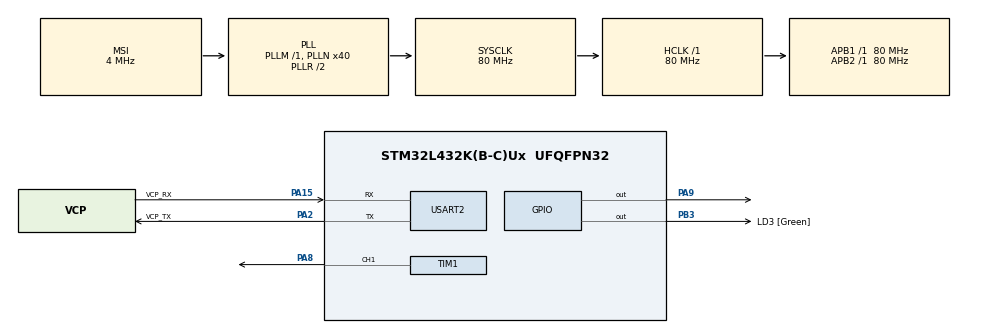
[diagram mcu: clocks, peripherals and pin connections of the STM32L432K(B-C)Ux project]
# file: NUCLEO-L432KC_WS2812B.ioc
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Dma.Request0=TIM1_CH1
Dma.TIM1_CH1.0.Direction=DMA_MEMORY_TO_PERIPH
Dma.TIM1_CH1.0.Instance=DMA1_Channel2
Dma.TIM1_CH1.0.MemDataAlignment=DMA_MDATAALIGN_BYTE
Dma.TIM1_CH1.0.MemInc=DMA_MINC_ENABLE
Dma.TIM1_CH1.0.Mode=DMA_CIRCULAR
Dma.TIM1_CH1.0.PeriphDataAlignment=DMA_PDATAALIGN_WORD
Dma.TIM1_CH1.0.PeriphInc=DMA_PINC_DISABLE
Dma.TIM1_CH1.0.Priority=DMA_PRIORITY_LOW
Mcu.Family=STM32L4
Mcu.Name=STM32L432K(B-C)Ux
Mcu.Package=UFQFPN32
NVIC.DMA1_Channel2_IRQn=true\:0\:0\:false\:false\:true\:false\:true\:true
NVIC.PriorityGroup=NVIC_PRIORITYGROUP_4
NVIC.USART2_IRQn=true\:0\:0\:false\:false\:true\:true\:true\:true
PA0.GPIO_Label=MCO [High speed clock in]
PA0.Mode=HSE-External-Clock-Source-for-LittleOrca
PA0.Signal=RCC_CK_IN
PA13\ (JTMS-SWDIO).GPIO_Label=SWDIO
PA13\ (JTMS-SWDIO).Mode=Serial_Wire
PA13\ (JTMS-SWDIO).Signal=SYS_JTMS-SWDIO
PA14\ (JTCK-SWCLK).GPIO_Label=SWCLK
PA14\ (JTCK-SWCLK).Mode=Serial_Wire
PA14\ (JTCK-SWCLK).Signal=SYS_JTCK-SWCLK
PA15\ (JTDI).GPIO_Label=VCP_RX
PA15\ (JTDI).Mode=Asynchronous
PA15\ (JTDI).Signal=USART2_RX
PA2.GPIO_Label=VCP_TX
PA2.Mode=Asynchronous
PA2.Signal=USART2_TX
PA8.GPIO_Speed=GPIO_SPEED_FREQ_MEDIUM
PA8.Signal=S_TIM1_CH1
PA9.GPIO_ModeDefaultOutputPP=GPIO_MODE_OUTPUT_OD
PA9.GPIO_PuPd=GPIO_NOPULL
PA9.Signal=GPIO_Output
PB3\ (JTDO-TRACESWO).GPIO_Label=LD3 [Green]
PB3\ (JTDO-TRACESWO).Signal=GPIO_Output
PC14-OSC32_IN\ (PC14).Mode=LSE-External-Oscillator
PC14-OSC32_IN\ (PC14).Signal=RCC_OSC32_IN
PC15-OSC32_OUT\ (PC15).Mode=LSE-External-Oscillator
PC15-OSC32_OUT\ (PC15).Signal=RCC_OSC32_OUT
ProjectManager.HeapSize=0x200
ProjectManager.StackSize=0x400
ProjectManager.TargetToolchain=CMake
RCC.AHBFreq_Value=80000000
RCC.APB1Freq_Value=80000000
RCC.APB1TimFreq_Value=80000000
RCC.APB2Freq_Value=80000000
RCC.APB2TimFreq_Value=80000000
RCC.CortexFreq_Value=80000000
RCC.HCLKFreq_Value=80000000
RCC.HSE_VALUE=8000000
RCC.HSI16_VALUE=16000000
RCC.HSI48_VALUE=48000000
RCC.HSI_VALUE=16000000
RCC.MSI_VALUE=4000000
RCC.PLLMUL=RCC_PLLMUL_4
RCC.PLLN=40
RCC.SYSCLKFreq_VALUE=80000000
RCC.SYSCLKSource=RCC_SYSCLKSOURCE_PLLCLK
RCC.VCOOutputFreq_Value=160000000
SH.S_TIM1_CH1.0=TIM1_CH1,PWM Generation1 CH1
TIM1.Channel-PWM\ Generation1\ CH1=TIM_CHANNEL_1
TIM1.Period=100-1
USART2.VirtualMode-Asynchronous=VM_ASYNC
VP_TIM1_VS_ClockSourceINT.Mode=Internal
board=NUCLEO-L432KC

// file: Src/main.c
/* USER CODE BEGIN Header */
/**
  ******************************************************************************
  * @file           : main.c
  * @brief          : Main program body
  ******************************************************************************
  * @attention
  *
  * Copyright (c) 2024 STMicroelectronics.
  * All rights reserved.
  *
  * This software is licensed under terms that can be found in the LICENSE file
  * in the root directory of this software component.
  * If no LICENSE file comes with this software, it is provided AS-IS.
  *
  ******************************************************************************
  */
/* USER CODE END Header */
#include "main.h"

/* USER CODE BEGIN Includes */
#include <stdio.h>
#include <stdlib.h>
#include <ctype.h>

#include "param.h"

/* USER CODE END Includes */

TIM_HandleTypeDef htim1;
DMA_HandleTypeDef hdma_tim1_ch1;

UART_HandleTypeDef huart2;

void SystemClock_Config(void);
static void MX_GPIO_Init(void);
static void MX_DMA_Init(void);
static void MX_USART2_UART_Init(void);
static void MX_TIM1_Init(void);

/* USER CODE BEGIN 0 */

  // WS2812B LED ring with 24 LEDs externally connected
  // DI is TIM1 CH1 at PA8 which is a FT pin.
  // SYSCLK 80 MHz TIM used no prescaler, period=100 -> 1.25 us
  // data sheet   -> PWM setting
  // T0H 0.4us      32
  // T1H 0.8us      64
  // RESET >50us  sequence of 50 PWM pulses with 0% duty (all zero)

#define L 32
#define H 64

// we now have two rings of 24 LEDs each
// the 2nd mirrors the 1st, but dimmed
#define RINGS 2
#define LEDs 24

// some sources say that v4 of those LEDs needs >280us reset, so we round up
#define RESET 300

// Follow the order of GRB to sent data and the high bit sent at first

uint8_t pwm[24*RINGS*LEDs+RESET] = {
  L,L,L,L,L,L,L,L,  L,L,L,L,L,L,L,L,  L,L,L,L,L,L,L,L,
  L,L,L,L,L,L,L,L,  L,L,L,L,L,L,L,L,  L,L,L,L,L,L,L,L,
  L,L,L,L,L,L,L,L,  L,L,L,L,L,L,L,L,  L,L,L,L,L,L,L,L,
  L,L,L,L,L,L,L,L,  L,L,L,L,L,L,L,L,  L,L,L,L,L,L,L,L,
  L,L,L,L,L,L,L,L,  L,L,L,L,L,L,L,L,  L,L,L,L,L,L,L,L,
  L,L,L,L,L,L,L,L,  L,L,L,L,L,L,L,L,  L,L,L,L,L,L,L,L,
  L,L,L,L,L,L,L,L,  L,L,L,L,L,L,L,L,  L,L,L,L,L,L,L,L,
  L,L,L,L,L,L,L,L,  L,L,L,L,L,L,L,L,  L,L,L,L,L,L,L,L,
  L,L,L,L,L,L,L,L,  L,L,L,L,L,L,L,L,  L,L,L,L,L,L,L,L,
  L,L,L,L,L,L,L,L,  L,L,L,L,L,L,L,L,  L,L,L,L,L,L,L,L,
  L,L,L,L,L,L,L,L,  L,L,L,L,L,L,L,L,  L,L,L,L,L,L,L,L,
  L,L,L,L,L,L,L,L,  L,L,L,L,L,L,L,L,  L,L,L,L,L,L,L,L,
  // reset pulses are completely zero, 0% PWM
};

void SetLED(int nr, uint32_t rgb) {
  int pos = 24*nr;
  pwm[pos++] = rgb & (1<<15) ? H : L;
  pwm[pos++] = rgb & (1<<14) ? H : L;
  pwm[pos++] = rgb & (1<<13) ? H : L;
  pwm[pos++] = rgb & (1<<12) ? H : L;
  pwm[pos++] = rgb & (1<<11) ? H : L;
  pwm[pos++] = rgb & (1<<10) ? H : L;
  pwm[pos++] = rgb & (1<< 9) ? H : L;
  pwm[pos++] = rgb & (1<< 8) ? H : L;

  pwm[pos++] = rgb & (1<<23) ? H : L;
  pwm[pos++] = rgb & (1<<22) ? H : L;
  pwm[pos++] = rgb & (1<<21) ? H : L;
  pwm[pos++] = rgb & (1<<20) ? H : L;
  pwm[pos++] = rgb & (1<<19) ? H : L;
  pwm[pos++] = rgb & (1<<18) ? H : L;
  pwm[pos++] = rgb & (1<<17) ? H : L;
  pwm[pos++] = rgb & (1<<16) ? H : L;

  pwm[pos++] = rgb & (1<<7) ? H : L;
  pwm[pos++] = rgb & (1<<6) ? H : L;
  pwm[pos++] = rgb & (1<<5) ? H : L;
  pwm[pos++] = rgb & (1<<4) ? H : L;
  pwm[pos++] = rgb & (1<<3) ? H : L;
  pwm[pos++] = rgb & (1<<2) ? H : L;
  pwm[pos++] = rgb & (1<<1) ? H : L;
  pwm[pos++] = rgb & (1<<0) ? H : L;
}

// set a pair of LEDs: one on each ring
// the audience ring (first) gets brighter colors
void SetLEDs(int nr, uint32_t rgb) {
  SetLED(nr, rgb);                    // bright, to audience
  SetLED(LEDs+nr, rgb & 0x0F0F0F);    // dimmed, to stage
}

int _write(int file, char *ptr, int len)
{
  HAL_UART_Transmit(&huart2, (void*)ptr, len, HAL_MAX_DELAY);
  return len;
}

uint64_t timeout;

char uart_rx_buffer[64];
int uart_rx_buffer_len = 0;

void HAL_UART_RxCpltCallback(UART_HandleTypeDef *huart)
{
  if(isdigit(uart_rx_buffer[uart_rx_buffer_len])) {
    uart_rx_buffer_len++;
    if(uart_rx_buffer_len < sizeof(uart_rx_buffer)) {
      HAL_UART_Receive_IT(&huart2, (uint8_t*)&uart_rx_buffer[uart_rx_buffer_len], 1);
    }
  } else {
    uart_rx_buffer[uart_rx_buffer_len] = '\0';
    timeout = strtoul(uart_rx_buffer, NULL, 10);
    if(10 <= timeout && timeout < 10000) {
      printf("writing new timeout %lu to permanent storage (flash) and reset...\r\n",  (uint32_t)timeout);
      param_set_u64(&timeout, 1);
    } else {
      printf("invalid input, ignored and reset...\r\n");
    }
    HAL_UART_DeInit(&huart2);
    NVIC_SystemReset();
  }
}

/* USER CODE END 0 */

int main(void)
{

  /* MCU Configuration--------------------------------------------------------*/

  /* Reset of all peripherals, Initializes the Flash interface and the Systick. */
  HAL_Init();

  /* Configure the system clock */
  SystemClock_Config();

  /* Initialize all configured peripherals */
  MX_GPIO_Init();
  MX_DMA_Init();
  MX_USART2_UART_Init();
  MX_TIM1_Init();
  /* USER CODE BEGIN 2 */

  param_get_u64(&timeout, 1);
  if(timeout > 10000) {
    timeout = 120;
    printf("failed reading valid alarm timeout from flash, resetting to default %lu\r\n", (uint32_t)timeout);
  }

  uint32_t timeout_ms_per_led = (uint32_t)(1000LLU*timeout) / LEDs;
  printf("the alarm timeout is set to %lu seconds, you may enter new decimal value in seconds (range 10..9999):\r\n", (uint32_t)timeout);

  HAL_UART_Receive_IT(&huart2, (uint8_t*)&uart_rx_buffer[uart_rx_buffer_len], 1);

  HAL_TIM_PWM_Start_DMA(&htim1, TIM_CHANNEL_1, (void*)pwm, sizeof(pwm) );

  // all green
  for(int i=0; i<LEDs; ++i) {
    SetLEDs(i, 0x00FF00);
  }

  // turn them off slowly, one by one
  for(int i=0; i<LEDs; ++i) {
    HAL_Delay(timeout_ms_per_led);
    SetLEDs(i, 0x000000);
  }

  // red alaram
  for(int i=0; i<5; ++i) {
    HAL_GPIO_WritePin(LD3_GPIO_Port, LD3_Pin, GPIO_PIN_SET);
    for(int i=0; i<LEDs; ++i) {
      SetLEDs(i, 0xFF0000);
    }
    HAL_Delay(200);
    HAL_GPIO_WritePin(LD3_GPIO_Port, LD3_Pin, GPIO_PIN_RESET);
    for(int i=0; i<LEDs; ++i) {
      SetLEDs(i, 0x000000);
    }
    HAL_Delay(100);
  }

  /* USER CODE END 2 */

  /* Infinite loop */
  /* USER CODE BEGIN WHILE */
  while (1)
  {
    // the glitzer
    int i = rand() % LEDs;
    int r = rand() % 8;
    int g = rand() % 8;
    int b = rand() % 8;
    SetLEDs(i, (1<<(16+r))|(1<<(8+g))|1<<(b));
    HAL_Delay(20);

    /* USER CODE END WHILE */

  }
}

void SystemClock_Config(void)
{
  RCC_OscInitTypeDef RCC_OscInitStruct = {0};
  RCC_ClkInitTypeDef RCC_ClkInitStruct = {0};

  /** Configure the main internal regulator output voltage
  */
  if (HAL_PWREx_ControlVoltageScaling(PWR_REGULATOR_VOLTAGE_SCALE1) != HAL_OK)
  {
    Error_Handler();
  }

  /** Configure LSE Drive Capability
  */
  HAL_PWR_EnableBkUpAccess();
  __HAL_RCC_LSEDRIVE_CONFIG(RCC_LSEDRIVE_LOW);

  /** Initializes the RCC Oscillators according to the specified parameters
  * in the RCC_OscInitTypeDef structure.
  */
  RCC_OscInitStruct.OscillatorType = RCC_OSCILLATORTYPE_LSE|RCC_OSCILLATORTYPE_MSI;
  RCC_OscInitStruct.LSEState = RCC_LSE_ON;
  RCC_OscInitStruct.MSIState = RCC_MSI_ON;
  RCC_OscInitStruct.MSICalibrationValue = 0;
  RCC_OscInitStruct.MSIClockRange = RCC_MSIRANGE_6;
  RCC_OscInitStruct.PLL.PLLState = RCC_PLL_ON;
  RCC_OscInitStruct.PLL.PLLSource = RCC_PLLSOURCE_MSI;
  RCC_OscInitStruct.PLL.PLLM = 1;
  RCC_OscInitStruct.PLL.PLLN = 40;
  RCC_OscInitStruct.PLL.PLLP = RCC_PLLP_DIV7;
  RCC_OscInitStruct.PLL.PLLQ = RCC_PLLQ_DIV2;
  RCC_OscInitStruct.PLL.PLLR = RCC_PLLR_DIV2;
  if (HAL_RCC_OscConfig(&RCC_OscInitStruct) != HAL_OK)
  {
    Error_Handler();
  }

  /** Initializes the CPU, AHB and APB buses clocks
  */
  RCC_ClkInitStruct.ClockType = RCC_CLOCKTYPE_HCLK|RCC_CLOCKTYPE_SYSCLK
                              |RCC_CLOCKTYPE_PCLK1|RCC_CLOCKTYPE_PCLK2;
  RCC_ClkInitStruct.SYSCLKSource = RCC_SYSCLKSOURCE_PLLCLK;
  RCC_ClkInitStruct.AHBCLKDivider = RCC_SYSCLK_DIV1;
  RCC_ClkInitStruct.APB1CLKDivider = RCC_HCLK_DIV1;
  RCC_ClkInitStruct.APB2CLKDivider = RCC_HCLK_DIV1;

  if (HAL_RCC_ClockConfig(&RCC_ClkInitStruct, FLASH_LATENCY_4) != HAL_OK)
  {
    Error_Handler();
  }

  /** Enable MSI Auto calibration
  */
  HAL_RCCEx_EnableMSIPLLMode();
}

static void MX_TIM1_Init(void)
{

  TIM_ClockConfigTypeDef sClockSourceConfig = {0};
  TIM_MasterConfigTypeDef sMasterConfig = {0};
  TIM_OC_InitTypeDef sConfigOC = {0};
  TIM_BreakDeadTimeConfigTypeDef sBreakDeadTimeConfig = {0};

  htim1.Instance = TIM1;
  htim1.Init.Prescaler = 0;
  htim1.Init.CounterMode = TIM_COUNTERMODE_UP;
  htim1.Init.Period = 100-1;
  htim1.Init.ClockDivision = TIM_CLOCKDIVISION_DIV1;
  htim1.Init.RepetitionCounter = 0;
  htim1.Init.AutoReloadPreload = TIM_AUTORELOAD_PRELOAD_DISABLE;
  if (HAL_TIM_Base_Init(&htim1) != HAL_OK)
  {
    Error_Handler();
  }
  sClockSourceConfig.ClockSource = TIM_CLOCKSOURCE_INTERNAL;
  if (HAL_TIM_ConfigClockSource(&htim1, &sClockSourceConfig) != HAL_OK)
  {
    Error_Handler();
  }
  if (HAL_TIM_PWM_Init(&htim1) != HAL_OK)
  {
    Error_Handler();
  }
  sMasterConfig.MasterOutputTrigger = TIM_TRGO_RESET;
  sMasterConfig.MasterOutputTrigger2 = TIM_TRGO2_RESET;
  sMasterConfig.MasterSlaveMode = TIM_MASTERSLAVEMODE_DISABLE;
  if (HAL_TIMEx_MasterConfigSynchronization(&htim1, &sMasterConfig) != HAL_OK)
  {
    Error_Handler();
  }
  sConfigOC.OCMode = TIM_OCMODE_PWM1;
  sConfigOC.Pulse = 0;
  sConfigOC.OCPolarity = TIM_OCPOLARITY_HIGH;
  sConfigOC.OCNPolarity = TIM_OCNPOLARITY_HIGH;
  sConfigOC.OCFastMode = TIM_OCFAST_DISABLE;
  sConfigOC.OCIdleState = TIM_OCIDLESTATE_RESET;
  sConfigOC.OCNIdleState = TIM_OCNIDLESTATE_RESET;
  if (HAL_TIM_PWM_ConfigChannel(&htim1, &sConfigOC, TIM_CHANNEL_1) != HAL_OK)
  {
    Error_Handler();
  }
  sBreakDeadTimeConfig.OffStateRunMode = TIM_OSSR_DISABLE;
  sBreakDeadTimeConfig.OffStateIDLEMode = TIM_OSSI_DISABLE;
  sBreakDeadTimeConfig.LockLevel = TIM_LOCKLEVEL_OFF;
  sBreakDeadTimeConfig.DeadTime = 0;
  sBreakDeadTimeConfig.BreakState = TIM_BREAK_DISABLE;
  sBreakDeadTimeConfig.BreakPolarity = TIM_BREAKPOLARITY_HIGH;
  sBreakDeadTimeConfig.BreakFilter = 0;
  sBreakDeadTimeConfig.Break2State = TIM_BREAK2_DISABLE;
  sBreakDeadTimeConfig.Break2Polarity = TIM_BREAK2POLARITY_HIGH;
  sBreakDeadTimeConfig.Break2Filter = 0;
  sBreakDeadTimeConfig.AutomaticOutput = TIM_AUTOMATICOUTPUT_DISABLE;
  if (HAL_TIMEx_ConfigBreakDeadTime(&htim1, &sBreakDeadTimeConfig) != HAL_OK)
  {
    Error_Handler();
  }
  HAL_TIM_MspPostInit(&htim1);

}

static void MX_USART2_UART_Init(void)
{

  huart2.Instance = USART2;
  huart2.Init.BaudRate = 115200;
  huart2.Init.WordLength = UART_WORDLENGTH_8B;
  huart2.Init.StopBits = UART_STOPBITS_1;
  huart2.Init.Parity = UART_PARITY_NONE;
  huart2.Init.Mode = UART_MODE_TX_RX;
  huart2.Init.HwFlowCtl = UART_HWCONTROL_NONE;
  huart2.Init.OverSampling = UART_OVERSAMPLING_16;
  huart2.Init.OneBitSampling = UART_ONE_BIT_SAMPLE_DISABLE;
  huart2.AdvancedInit.AdvFeatureInit = UART_ADVFEATURE_NO_INIT;
  if (HAL_UART_Init(&huart2) != HAL_OK)
  {
    Error_Handler();
  }

}

static void MX_DMA_Init(void)
{

  /* DMA controller clock enable */
  __HAL_RCC_DMA1_CLK_ENABLE();

  /* DMA interrupt init */
  /* DMA1_Channel2_IRQn interrupt configuration */
  HAL_NVIC_SetPriority(DMA1_Channel2_IRQn, 0, 0);
  HAL_NVIC_EnableIRQ(DMA1_Channel2_IRQn);

}

static void MX_GPIO_Init(void)
{
  GPIO_InitTypeDef GPIO_InitStruct = {0};

  /* GPIO Ports Clock Enable */
  __HAL_RCC_GPIOC_CLK_ENABLE();
  __HAL_RCC_GPIOA_CLK_ENABLE();
  __HAL_RCC_GPIOB_CLK_ENABLE();

  /*Configure GPIO pin Output Level */
  HAL_GPIO_WritePin(GPIOA, GPIO_PIN_9, GPIO_PIN_RESET);

  /*Configure GPIO pin Output Level */
  HAL_GPIO_WritePin(LD3_GPIO_Port, LD3_Pin, GPIO_PIN_RESET);

  /*Configure GPIO pin : PA9 */
  GPIO_InitStruct.Pin = GPIO_PIN_9;
  GPIO_InitStruct.Mode = GPIO_MODE_OUTPUT_OD;
  GPIO_InitStruct.Pull = GPIO_NOPULL;
  GPIO_InitStruct.Speed = GPIO_SPEED_FREQ_LOW;
  HAL_GPIO_Init(GPIOA, &GPIO_InitStruct);

  /*Configure GPIO pin : LD3_Pin */
  GPIO_InitStruct.Pin = LD3_Pin;
  GPIO_InitStruct.Mode = GPIO_MODE_OUTPUT_PP;
  GPIO_InitStruct.Pull = GPIO_NOPULL;
  GPIO_InitStruct.Speed = GPIO_SPEED_FREQ_LOW;
  HAL_GPIO_Init(LD3_GPIO_Port, &GPIO_InitStruct);

}

void Error_Handler(void)
{
  __disable_irq();
  while (1)
  {
  }
}
